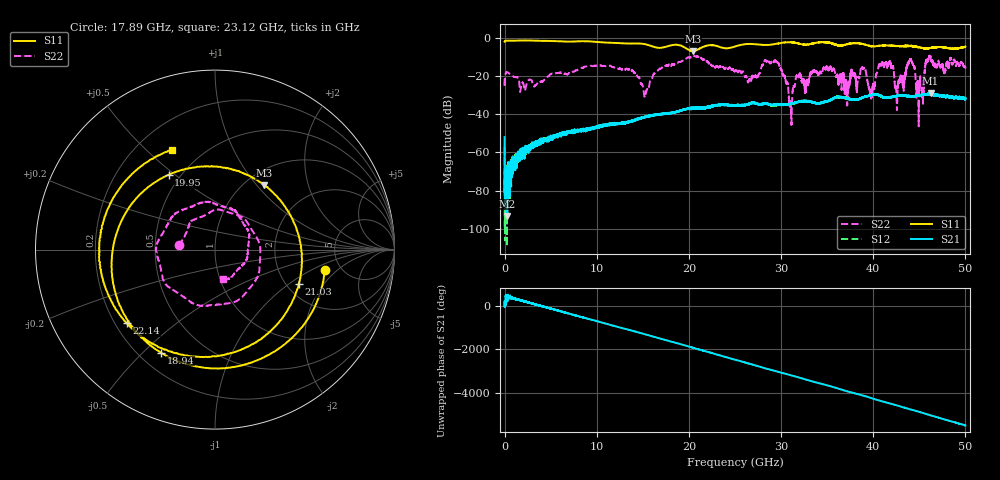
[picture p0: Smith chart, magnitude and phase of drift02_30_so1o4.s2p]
!Created with skrf (http://scikit-rf.org).
# Hz S RI R 50.0
!freq ReS11 ImS11 ReS21 ImS21 ReS12 ImS12 ReS22 ImS22
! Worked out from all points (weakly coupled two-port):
!   10001 points, 300 kHz to 50 GHz, reference 50 ohm
!   highest |S21| = -28.82 dB at 46.22 GHz (marker M1); lowest = -93.3 dB at 290.3 MHz (marker M2)
!   lowest |S11| = -6.9 dB at 20.45 GHz (marker M3), VSWR 2.64, Z = 60.7 + j54.6 ohm
!   |S11| at or under -10 dB: nowhere
!   |S22| runs from -46.3 to -8.9 dB; largest |S21 - S12| = 0.0035
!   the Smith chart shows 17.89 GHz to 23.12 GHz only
!   S11 on the Smith chart (normalised r, x): 17.89 GHz: 3.74, -1.39; 18.94 GHz: 0.29, -0.57; 19.95 GHz: 0.43, +0.47; 21.03 GHz: 2.32, -1.20; 22.14 GHz: 0.25, -0.34; 23.12 GHz: 0.34, +0.61
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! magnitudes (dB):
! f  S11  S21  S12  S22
! 300 kHz  -2.0  -52.0  -57.3  -21.4
! 290.3 MHz  -1.4  -93.3  -73.2  -18.0
! 8.335 GHz  -1.7  -48.1  -48.2  -15.7
! 15.32 GHz  -3.4  -41.3  -41.4  -29.2
! 16.67 GHz  -5.2  -40.3  -40.0  -16.9
! 17.89 GHz  -4.1  -39.3  -39.4  -14.0
! 18.94 GHz  -3.8  -38.2  -38.3  -12.5
! 19.95 GHz  -6.2  -37.0  -36.9  -10.1
! 20.45 GHz  -6.9  -37.1  -36.5  -10.0
! 21.03 GHz  -5.9  -36.8  -36.6  -9.9
! 22.14 GHz  -3.9  -36.2  -36.1  -13.2
! 23.12 GHz  -4.4  -35.1  -35.2  -15.3
! 25 GHz  -4.5  -35.5  -35.4  -17.5
! 29.5 GHz  -3.1  -35.0  -35.2  -12.6
! 31.03 GHz  -2.3  -34.3  -34.6  -34.0
! 33.34 GHz  -3.0  -33.8  -33.5  -17.9
! 39.72 GHz  -4.3  -30.0  -30.0  -29.5
! 41.67 GHz  -4.0  -31.3  -31.2  -13.2
! 44.16 GHz  -4.1  -30.8  -30.7  -11.9
! 44.85 GHz  -4.7  -30.2  -30.3  -23.8
! 46.22 GHz  -5.3  -28.8  -29.2  -10.6
! 50 GHz  -4.7  -31.7  -31.7  -15.5
